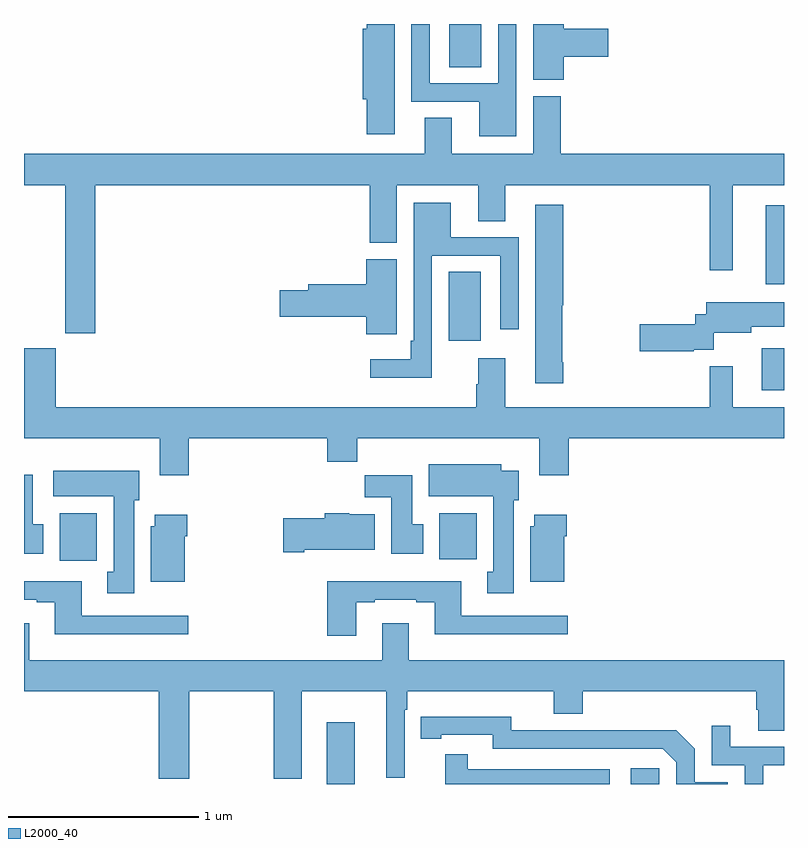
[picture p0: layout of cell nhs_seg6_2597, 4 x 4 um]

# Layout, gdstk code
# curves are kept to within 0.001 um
import gdstk
lib = gdstk.Library(unit=1e-6, precision=1e-09)
def R(c, l, rs):  # rectangles x0, y0, x1, y1
    for r in rs: c.add(gdstk.rectangle(r[:2], r[2:], *l))
def P(c, l, *ps):  # polygons
    for p in ps: c.add(gdstk.Polygon(p, *l))
L2000_40 = (2000, 40)

nhs_seg6_2597 = lib.new_cell('nhs_seg6_2597')
R(nhs_seg6_2597, L2000_40, [(266.594,961.5,266.74,961.825), (268.194,961.5,268.344,961.582), (265.187,962.676,265.383,962.926), (267.185,962.684,267.382,962.926), (268.883,963.573,269,963.793), (267.236,963.834,267.403,964.196), (268.904,964.13,269,964.546), (267.239,965.272,267.406,965.5)])
P(nhs_seg6_2597, L2000_40, [(267.842,965.327),(268.075,965.327),(268.075,965.474),(267.842,965.474),(267.842,965.5),(267.681,965.5),(267.681,965.489),(267.68,965.489),(267.68,965.206),(267.842,965.206)],
  [(267.591,965.5),(267.495,965.5),(267.495,965.187),(267.135,965.187),(267.135,965.5),(267.039,965.5),(267.039,965.091),(267.395,965.091),(267.395,964.91),(267.591,964.91)],
  [(266.95,965.5),(266.804,965.5),(266.804,965.475),(266.783,965.475),(266.783,965.103),(266.804,965.103),(266.804,964.92),(266.95,964.92)],
  [(265.376,964.652),(266.819,964.652),(266.819,964.348),(266.962,964.348),(266.962,964.652),(267.392,964.652),(267.392,964.462),(267.532,964.462),(267.532,964.652),(268.608,964.652),(268.608,964.203),(268.729,964.203),(268.729,964.652),(269,964.652),(269,964.816),(267.824,964.816),(267.824,965.121),(267.68,965.121),(267.68,964.816),(267.25,964.816),(267.25,965.006),(267.11,965.006),(267.11,964.816),(265,964.816),(265,964.652),(265.216,964.652),(265.216,963.873),(265.376,963.873)],
  [(267.147,964.281),(267.507,964.281),(267.507,963.894),(267.603,963.894),(267.603,964.377),(267.247,964.377),(267.247,964.558),(267.051,964.558),(267.051,963.832),(267.035,963.832),(267.035,963.736),(266.823,963.736),(266.823,963.638),(267.147,963.638)],
  [(267.839,963.721),(267.834,963.721),(267.834,964.021),(267.839,964.021),(267.839,964.549),(267.692,964.549),(267.692,963.609),(267.839,963.609)],
  [(266.961,963.979),(266.962,963.979),(266.962,964.263),(266.801,964.263),(266.801,964.13),(266.495,964.13),(266.495,964.1),(266.346,964.1),(266.346,963.958),(266.801,963.958),(266.801,963.867),(266.961,963.867)],
  [(268.526,963.785),(268.629,963.785),(268.629,963.876),(268.828,963.876),(268.828,963.907),(269,963.907),(269,964.036),(268.592,964.036),(268.592,963.972),(268.533,963.972),(268.533,963.92),(268.242,963.92),(268.242,963.778),(268.526,963.778)],
  [(265.868,963.32),(266.597,963.32),(266.597,963.196),(266.753,963.196),(266.753,963.32),(267.713,963.32),(267.713,963.126),(267.866,963.126),(267.866,963.32),(269,963.32),(269,963.484),(268.729,963.484),(268.729,963.7),(268.608,963.7),(268.608,963.484),(267.532,963.484),(267.532,963.742),(267.392,963.742),(267.392,963.605),(267.38,963.605),(267.38,963.484),(265.168,963.484),(265.168,963.793),(265,963.793),(265,963.32),(265.715,963.32),(265.715,963.126),(265.868,963.126)],
  [(267.577,962.994),(267.604,962.994),(267.604,963.148),(267.511,963.148),(267.511,963.184),(267.131,963.184),(267.131,963.014),(267.47,963.014),(267.47,962.618),(267.437,962.618),(267.437,962.505),(267.577,962.505)],
  [(265.579,962.994),(265.606,962.994),(265.606,963.148),(265.155,963.148),(265.155,963.014),(265.472,963.014),(265.472,962.617),(265.439,962.617),(265.439,962.505),(265.579,962.505)],
  [(265.102,962.868),(265.045,962.868),(265.045,963.127),(265,963.127),(265,962.712),(265.102,962.712)],
  [(267.1,962.868),(267.043,962.868),(267.043,963.126),(266.794,963.126),(266.794,963.008),(266.933,963.008),(266.933,962.712),(267.1,962.712)],
  [(266.476,962.732),(266.845,962.732),(266.845,962.92),(266.712,962.92),(266.712,962.926),(266.582,962.926),(266.582,962.898),(266.364,962.898),(266.364,962.72),(266.476,962.72)],
  [(267.844,962.804),(267.857,962.804),(267.857,962.917),(267.686,962.917),(267.686,962.856),(267.665,962.856),(267.665,962.564),(267.844,962.564)],
  [(265.846,962.804),(265.859,962.804),(265.859,962.917),(265.688,962.917),(265.688,962.856),(265.667,962.856),(265.667,962.564),(265.846,962.564)],
  [(266.749,962.457),(266.845,962.457),(266.845,962.469),(267.065,962.469),(267.065,962.457),(267.161,962.457),(267.161,962.288),(267.862,962.288),(267.862,962.385),(267.301,962.385),(267.301,962.566),(266.597,962.566),(266.597,962.28),(266.749,962.28)],
  [(265.864,962.385),(265.303,962.385),(265.303,962.566),(265,962.566),(265,962.469),(265.067,962.469),(265.067,962.457),(265.163,962.457),(265.163,962.288),(265.864,962.288)],
  [(265.869,961.988),(266.314,961.988),(266.314,961.527),(266.461,961.527),(266.461,961.988),(266.906,961.988),(266.906,961.533),(267.003,961.533),(267.003,961.892),(267.017,961.892),(267.017,961.988),(267.788,961.988),(267.788,961.871),(267.941,961.871),(267.941,961.988),(268.853,961.988),(268.853,961.89),(268.865,961.89),(268.865,961.78),(269,961.78),(269,962.152),(267.025,962.152),(267.025,962.347),(266.885,962.347),(266.885,962.152),(265.027,962.152),(265.027,962.347),(265,962.347),(265,961.988),(265.709,961.988),(265.709,961.527),(265.869,961.527)],
  [(268.704,961.509),(268.53,961.509),(268.53,961.686),(268.432,961.784),(268.024,961.784),(268.024,961.782),(267.564,961.782),(267.564,961.855),(267.088,961.854),(267.088,961.738),(267.196,961.738),(267.196,961.758),(267.468,961.758),(267.468,961.686),(268.362,961.686),(268.434,961.614),(268.434,961.5),(268.704,961.5)],
  [(268.89,961.599),(269,961.599),(269,961.695),(268.717,961.695),(268.717,961.807),(268.62,961.807),(268.62,961.599),(268.794,961.599),(268.794,961.5),(268.89,961.5)],
  [(268.084,961.578),(267.335,961.578),(267.335,961.657),(267.218,961.657),(267.218,961.5),(268.084,961.5)])

lib.write_gds('nhs_seg6_2597.gds')
